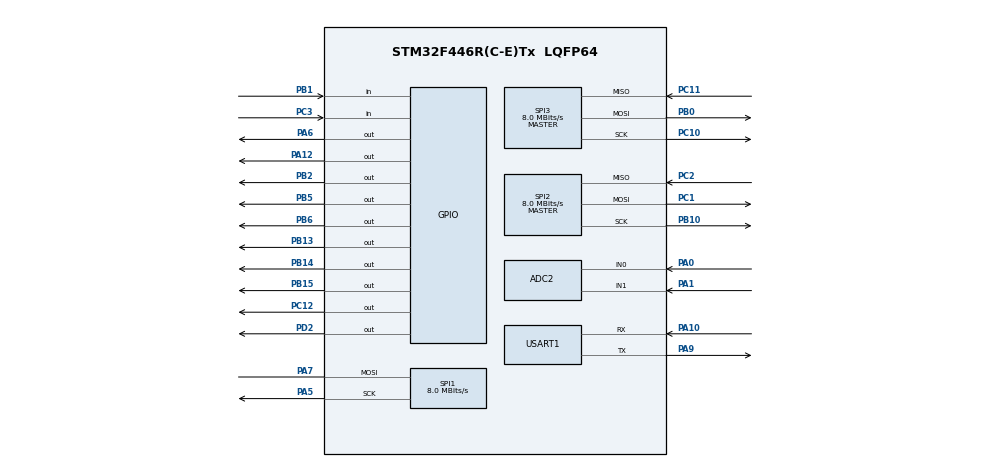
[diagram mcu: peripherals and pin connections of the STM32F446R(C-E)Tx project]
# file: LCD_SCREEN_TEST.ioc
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ADC2.Channel-2\#ChannelRegularConversion=ADC_CHANNEL_0
ADC2.Channel-3\#ChannelRegularConversion=ADC_CHANNEL_1
ADC2.ContinuousConvMode=ENABLE
ADC2.DMAContinuousRequests=ENABLE
ADC2.NbrOfConversion=2
ADC2.NbrOfConversionFlag=1
ADC2.Rank-2\#ChannelRegularConversion=1
ADC2.Rank-3\#ChannelRegularConversion=2
ADC2.SamplingTime-2\#ChannelRegularConversion=ADC_SAMPLETIME_480CYCLES
ADC2.SamplingTime-3\#ChannelRegularConversion=ADC_SAMPLETIME_480CYCLES
Dma.ADC2.0.Direction=DMA_PERIPH_TO_MEMORY
Dma.ADC2.0.FIFOMode=DMA_FIFOMODE_DISABLE
Dma.ADC2.0.Instance=DMA2_Stream2
Dma.ADC2.0.MemDataAlignment=DMA_MDATAALIGN_WORD
Dma.ADC2.0.MemInc=DMA_MINC_ENABLE
Dma.ADC2.0.Mode=DMA_CIRCULAR
Dma.ADC2.0.PeriphDataAlignment=DMA_PDATAALIGN_WORD
Dma.ADC2.0.PeriphInc=DMA_PINC_DISABLE
Dma.ADC2.0.Priority=DMA_PRIORITY_LOW
Dma.Request0=ADC2
Mcu.Family=STM32F4
Mcu.Name=STM32F446R(C-E)Tx
Mcu.Package=LQFP64
NVIC.DMA2_Stream2_IRQn=true\:0\:0\:false\:false\:true\:false\:true
NVIC.PriorityGroup=NVIC_PRIORITYGROUP_4
NVIC.USART1_IRQn=true\:0\:0\:false\:false\:true\:true\:true
PA0-WKUP.Signal=ADCx_IN0
PA1.Signal=ADCx_IN1
PA10.Mode=Asynchronous
PA10.Signal=USART1_RX
PA12.Signal=GPIO_Output
PA13.Mode=Serial_Wire
PA13.Signal=SYS_JTMS-SWDIO
PA14.Mode=Serial_Wire
PA14.Signal=SYS_JTCK-SWCLK
PA5.Mode=Simplex_Bidirectional_Master
PA5.Signal=SPI1_SCK
PA6.Signal=GPIO_Output
PA7.Mode=Simplex_Bidirectional_Master
PA7.Signal=SPI1_MOSI
PA9.Mode=Asynchronous
PA9.Signal=USART1_TX
PB0.Mode=Full_Duplex_Master
PB0.Signal=SPI3_MOSI
PB1.Signal=GPIO_Input
PB10.Mode=Full_Duplex_Master
PB10.Signal=SPI2_SCK
PB13.Signal=GPIO_Output
PB14.Signal=GPIO_Output
PB15.Signal=GPIO_Output
PB2.Signal=GPIO_Output
PB5.Signal=GPIO_Output
PB6.Signal=GPIO_Output
PC1.Mode=Full_Duplex_Master
PC1.Signal=SPI2_MOSI
PC10.Mode=Full_Duplex_Master
PC10.Signal=SPI3_SCK
PC11.Mode=Full_Duplex_Master
PC11.Signal=SPI3_MISO
PC12.PinState=GPIO_PIN_SET
PC12.Signal=GPIO_Output
PC2.Mode=Full_Duplex_Master
PC2.Signal=SPI2_MISO
PC3.Signal=GPIO_Input
PD2.PinState=GPIO_PIN_SET
PD2.Signal=GPIO_Output
ProjectManager.HeapSize=0x200
ProjectManager.StackSize=0x400
ProjectManager.TargetToolchain=STM32CubeIDE
RCC.CortexFreq_Value=16000000
RCC.USBFreq_Value=96000000
RCC.VCOOutputFreq_Value=192000000
SH.ADCx_IN0.0=ADC2_IN0,IN0
SH.ADCx_IN1.0=ADC2_IN1,IN1
SPI1.CalculateBaudRate=8.0 MBits/s
SPI1.Direction=SPI_DIRECTION_1LINE
SPI1.Mode=SPI_MODE_MASTER
SPI1.VirtualType=VM_MASTER
SPI2.CalculateBaudRate=8.0 MBits/s
SPI2.Direction=SPI_DIRECTION_2LINES
SPI2.Mode=SPI_MODE_MASTER
SPI2.VirtualType=VM_MASTER
SPI3.CalculateBaudRate=8.0 MBits/s
SPI3.Direction=SPI_DIRECTION_2LINES
SPI3.Mode=SPI_MODE_MASTER
SPI3.VirtualType=VM_MASTER
USART1.VirtualMode=VM_ASYNC
board=custom

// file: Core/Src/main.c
/* USER CODE BEGIN Header */
/**
  ******************************************************************************
  * @file           : main.c
  * @brief          : Main program body
  ******************************************************************************
  * @attention
  *
  * <h2><center>&copy; Copyright (c) 2020 STMicroelectronics.
  * All rights reserved.</center></h2>
  *
  * This software component is licensed by ST under BSD 3-Clause license,
  * the "License"; You may not use this file except in compliance with the
  * License. You may obtain a copy of the License at:
  *                        opensource.org/licenses/BSD-3-Clause
  *
  ******************************************************************************
  */
/* USER CODE END Header */
#include "main.h"

/* USER CODE BEGIN Includes */
#include "ssd1306.h"
#include "ssd1306_tests.h"
#include "ssd1306_display.h"
#include "hal_iss.h"
#include "nRF905.h"
#include "BMI088.h"
/* USER CODE END Includes */

/* USER CODE BEGIN PD */
#define BUF_LEN		32
#define CONF_LEN	10
/* USER CODE END PD */

ADC_HandleTypeDef hadc2;
DMA_HandleTypeDef hdma_adc2;

SPI_HandleTypeDef hspi1;
SPI_HandleTypeDef hspi2;
SPI_HandleTypeDef hspi3;

UART_HandleTypeDef huart1;

/* USER CODE BEGIN PV */
unsigned char rx_buf[BUF_LEN] = {0};
unsigned char read_config_buf[CONF_LEN];
unsigned char rx_address[4] = {0xcc, 0xcc, 0xcc, 0xcc};
/* USER CODE END PV */

void SystemClock_Config(void);
static void MX_GPIO_Init(void);
static void MX_DMA_Init(void);
static void MX_SPI1_Init(void);
static void MX_ADC2_Init(void);
static void MX_SPI2_Init(void);
static void MX_USART1_UART_Init(void);
static void MX_SPI3_Init(void);
/* USER CODE BEGIN PFP */
uint32_t read_adc_value(ADC_HandleTypeDef *hadc);
/* USER CODE END PFP */

/* USER CODE BEGIN 0 */
uint32_t value[2];

/* USER CODE END 0 */

int main(void)
{
  /* USER CODE BEGIN 1 */
  int lasteventcounter[4] = {0, 0, 0, 0};
  uint8_t buf[50];
  uint8_t gbuf[50];
  uint16_t len, glen;
  float ax = 0, ay = 0, az = 0, gx = 0, gy  = 0, gz = 0;
  uint8_t dummybyte = 0;
  /* USER CODE END 1 */

  /* MCU Configuration--------------------------------------------------------*/

  /* Reset of all peripherals, Initializes the Flash interface and the Systick. */
  HAL_Init();

  /* Configure the system clock */
  SystemClock_Config();

  /* Initialize all configured peripherals */
  MX_GPIO_Init();
  MX_DMA_Init();
  MX_SPI1_Init();
  MX_ADC2_Init();
  MX_SPI2_Init();
  MX_USART1_UART_Init();
  MX_SPI3_Init();
  /* USER CODE BEGIN 2 */

  hal_iss_init();
  ssd1306_Init();
  display_template();

  HAL_ADC_Start_DMA(&hadc2, value, 2);

  nRF905_Init();
  nRF905_WriteConfigFreq(AUSTRALIA);

//  nRF905_ReadConfig(read_config_buf);
//  HAL_UART_Transmit(&huart1, read_config_buf, CONF_LEN, 1000);

  len = sprintf(buf, "Connected\r\n");

  //Make a dummy read to first set accelerotemter into spi after reset
  dummybyte = BMI088_getAccID();

  if (BMI088_isConnection()) {

	  BMI088_Init();
	  HAL_UART_Transmit(&huart1, buf, len, 1000);
	  HAL_GPIO_WritePin(GPIOB, GPIO_PIN_5, GPIO_PIN_SET);
  }
  /* USER CODE END 2 */

  /* Infinite loop */
  while (1)
  {

    /* USER CODE BEGIN 3 */

	  ssd1306_Fill(Black);

	  ssd1306_SetCursor(25, 0);
	  ssd1306_WriteString("Controller", Font_7x10, White);

	  if (hal_iss_eventcounter_read(HAL_ISS_SOURCE_1) > lasteventcounter[HAL_ISS_SOURCE_1]) {

		  HAL_GPIO_TogglePin(GPIOB, GPIO_PIN_6);
		  lasteventcounter[HAL_ISS_SOURCE_1] = hal_iss_eventcounter_read(HAL_ISS_SOURCE_1);
	  }

//	  HAL_GPIO_WritePin(GPIOB, GPIO_PIN_5, GPIO_PIN_RESET);
//	  HAL_Delay(1000);
//	  HAL_GPIO_WritePin(GPIOB, GPIO_PIN_5, GPIO_PIN_SET);
//	  HAL_Delay(1000);

	  //update_left_pot(value[0]);
	  ssd1306_DrawRectangle(2, (61 - (value[0] / 68)), 10, 60, White);
	  ssd1306_DrawRectangle(110, (61 - (value[1] / 68)), 120, 60, White);

	  ssd1306_DrawCircle(40, 30, 15, White);
	  ssd1306_DrawCircle(80, 30, 15, White);

	  ssd1306_DrawCircle(20, 55, 5, White);
	  ssd1306_DrawCircle(100, 55, 5, White);

	  ssd1306_UpdateScreen();

	  //BMI088_getAcceleration(&x, &y, &z);
	  BMI088_getAcceleration(&ax, &ay, &az);
	  len = sprintf(buf, "acc %f, %f, %f\r\n", ax, ay, az);
	  HAL_UART_Transmit(&huart1, buf, len, 1000);

	  BMI088_getGyroscope(&gx, &gy, &gz);
	  glen = sprintf(gbuf, "gyro %f, %f, %f\r\n", gx, gy, gz);
	  HAL_UART_Transmit(&huart1, gbuf, glen, 1000);
	  HAL_Delay(1000);
//	  nRF905_RX(rx_buf);
//
//	  HAL_UART_Transmit(&huart1, rx_buf, BUF_LEN, 100);

  }
  /* USER CODE END 3 */
}

void SystemClock_Config(void)
{
  RCC_OscInitTypeDef RCC_OscInitStruct = {0};
  RCC_ClkInitTypeDef RCC_ClkInitStruct = {0};

  /** Configure the main internal regulator output voltage
  */
  __HAL_RCC_PWR_CLK_ENABLE();
  __HAL_PWR_VOLTAGESCALING_CONFIG(PWR_REGULATOR_VOLTAGE_SCALE3);
  /** Initializes the RCC Oscillators according to the specified parameters
  * in the RCC_OscInitTypeDef structure.
  */
  RCC_OscInitStruct.OscillatorType = RCC_OSCILLATORTYPE_HSI;
  RCC_OscInitStruct.HSIState = RCC_HSI_ON;
  RCC_OscInitStruct.HSICalibrationValue = RCC_HSICALIBRATION_DEFAULT;
  RCC_OscInitStruct.PLL.PLLState = RCC_PLL_NONE;
  if (HAL_RCC_OscConfig(&RCC_OscInitStruct) != HAL_OK)
  {
    Error_Handler();
  }
  /** Initializes the CPU, AHB and APB buses clocks
  */
  RCC_ClkInitStruct.ClockType = RCC_CLOCKTYPE_HCLK|RCC_CLOCKTYPE_SYSCLK
                              |RCC_CLOCKTYPE_PCLK1|RCC_CLOCKTYPE_PCLK2;
  RCC_ClkInitStruct.SYSCLKSource = RCC_SYSCLKSOURCE_HSI;
  RCC_ClkInitStruct.AHBCLKDivider = RCC_SYSCLK_DIV1;
  RCC_ClkInitStruct.APB1CLKDivider = RCC_HCLK_DIV1;
  RCC_ClkInitStruct.APB2CLKDivider = RCC_HCLK_DIV1;

  if (HAL_RCC_ClockConfig(&RCC_ClkInitStruct, FLASH_LATENCY_0) != HAL_OK)
  {
    Error_Handler();
  }
}

static void MX_ADC2_Init(void)
{

  ADC_ChannelConfTypeDef sConfig = {0};

  /** Configure the global features of the ADC (Clock, Resolution, Data Alignment and number of conversion)
  */
  hadc2.Instance = ADC2;
  hadc2.Init.ClockPrescaler = ADC_CLOCK_SYNC_PCLK_DIV2;
  hadc2.Init.Resolution = ADC_RESOLUTION_12B;
  hadc2.Init.ScanConvMode = ENABLE;
  hadc2.Init.ContinuousConvMode = ENABLE;
  hadc2.Init.DiscontinuousConvMode = DISABLE;
  hadc2.Init.ExternalTrigConvEdge = ADC_EXTERNALTRIGCONVEDGE_NONE;
  hadc2.Init.ExternalTrigConv = ADC_SOFTWARE_START;
  hadc2.Init.DataAlign = ADC_DATAALIGN_RIGHT;
  hadc2.Init.NbrOfConversion = 2;
  hadc2.Init.DMAContinuousRequests = ENABLE;
  hadc2.Init.EOCSelection = ADC_EOC_SINGLE_CONV;
  if (HAL_ADC_Init(&hadc2) != HAL_OK)
  {
    Error_Handler();
  }
  /** Configure for the selected ADC regular channel its corresponding rank in the sequencer and its sample time.
  */
  sConfig.Channel = ADC_CHANNEL_0;
  sConfig.Rank = 1;
  sConfig.SamplingTime = ADC_SAMPLETIME_480CYCLES;
  if (HAL_ADC_ConfigChannel(&hadc2, &sConfig) != HAL_OK)
  {
    Error_Handler();
  }
  /** Configure for the selected ADC regular channel its corresponding rank in the sequencer and its sample time.
  */
  sConfig.Channel = ADC_CHANNEL_1;
  sConfig.Rank = 2;
  if (HAL_ADC_ConfigChannel(&hadc2, &sConfig) != HAL_OK)
  {
    Error_Handler();
  }

}

static void MX_SPI1_Init(void)
{

  /* SPI1 parameter configuration*/
  hspi1.Instance = SPI1;
  hspi1.Init.Mode = SPI_MODE_MASTER;
  hspi1.Init.Direction = SPI_DIRECTION_1LINE;
  hspi1.Init.DataSize = SPI_DATASIZE_8BIT;
  hspi1.Init.CLKPolarity = SPI_POLARITY_LOW;
  hspi1.Init.CLKPhase = SPI_PHASE_1EDGE;
  hspi1.Init.NSS = SPI_NSS_SOFT;
  hspi1.Init.BaudRatePrescaler = SPI_BAUDRATEPRESCALER_2;
  hspi1.Init.FirstBit = SPI_FIRSTBIT_MSB;
  hspi1.Init.TIMode = SPI_TIMODE_DISABLE;
  hspi1.Init.CRCCalculation = SPI_CRCCALCULATION_DISABLE;
  hspi1.Init.CRCPolynomial = 10;
  if (HAL_SPI_Init(&hspi1) != HAL_OK)
  {
    Error_Handler();
  }

}

static void MX_SPI2_Init(void)
{

  /* SPI2 parameter configuration*/
  hspi2.Instance = SPI2;
  hspi2.Init.Mode = SPI_MODE_MASTER;
  hspi2.Init.Direction = SPI_DIRECTION_2LINES;
  hspi2.Init.DataSize = SPI_DATASIZE_8BIT;
  hspi2.Init.CLKPolarity = SPI_POLARITY_LOW;
  hspi2.Init.CLKPhase = SPI_PHASE_1EDGE;
  hspi2.Init.NSS = SPI_NSS_SOFT;
  hspi2.Init.BaudRatePrescaler = SPI_BAUDRATEPRESCALER_2;
  hspi2.Init.FirstBit = SPI_FIRSTBIT_MSB;
  hspi2.Init.TIMode = SPI_TIMODE_DISABLE;
  hspi2.Init.CRCCalculation = SPI_CRCCALCULATION_DISABLE;
  hspi2.Init.CRCPolynomial = 10;
  if (HAL_SPI_Init(&hspi2) != HAL_OK)
  {
    Error_Handler();
  }

}

static void MX_SPI3_Init(void)
{

  /* SPI3 parameter configuration*/
  hspi3.Instance = SPI3;
  hspi3.Init.Mode = SPI_MODE_MASTER;
  hspi3.Init.Direction = SPI_DIRECTION_2LINES;
  hspi3.Init.DataSize = SPI_DATASIZE_8BIT;
  hspi3.Init.CLKPolarity = SPI_POLARITY_LOW;
  hspi3.Init.CLKPhase = SPI_PHASE_1EDGE;
  hspi3.Init.NSS = SPI_NSS_SOFT;
  hspi3.Init.BaudRatePrescaler = SPI_BAUDRATEPRESCALER_2;
  hspi3.Init.FirstBit = SPI_FIRSTBIT_MSB;
  hspi3.Init.TIMode = SPI_TIMODE_DISABLE;
  hspi3.Init.CRCCalculation = SPI_CRCCALCULATION_DISABLE;
  hspi3.Init.CRCPolynomial = 10;
  if (HAL_SPI_Init(&hspi3) != HAL_OK)
  {
    Error_Handler();
  }

}

static void MX_USART1_UART_Init(void)
{

  huart1.Instance = USART1;
  huart1.Init.BaudRate = 115200;
  huart1.Init.WordLength = UART_WORDLENGTH_8B;
  huart1.Init.StopBits = UART_STOPBITS_1;
  huart1.Init.Parity = UART_PARITY_NONE;
  huart1.Init.Mode = UART_MODE_TX_RX;
  huart1.Init.HwFlowCtl = UART_HWCONTROL_NONE;
  huart1.Init.OverSampling = UART_OVERSAMPLING_16;
  if (HAL_UART_Init(&huart1) != HAL_OK)
  {
    Error_Handler();
  }

}

static void MX_DMA_Init(void)
{

  /* DMA controller clock enable */
  __HAL_RCC_DMA2_CLK_ENABLE();

  /* DMA interrupt init */
  /* DMA2_Stream2_IRQn interrupt configuration */
  HAL_NVIC_SetPriority(DMA2_Stream2_IRQn, 0, 0);
  HAL_NVIC_EnableIRQ(DMA2_Stream2_IRQn);

}

static void MX_GPIO_Init(void)
{
  GPIO_InitTypeDef GPIO_InitStruct = {0};

  /* GPIO Ports Clock Enable */
  __HAL_RCC_GPIOC_CLK_ENABLE();
  __HAL_RCC_GPIOA_CLK_ENABLE();
  __HAL_RCC_GPIOB_CLK_ENABLE();
  __HAL_RCC_GPIOD_CLK_ENABLE();

  /*Configure GPIO pin Output Level */
  HAL_GPIO_WritePin(GPIOA, GPIO_PIN_6|GPIO_PIN_12, GPIO_PIN_RESET);

  /*Configure GPIO pin Output Level */
  HAL_GPIO_WritePin(GPIOB, GPIO_PIN_2|GPIO_PIN_13|GPIO_PIN_14|GPIO_PIN_15
                          |GPIO_PIN_5|GPIO_PIN_6, GPIO_PIN_RESET);

  /*Configure GPIO pin Output Level */
  HAL_GPIO_WritePin(GPIOC, GPIO_PIN_12, GPIO_PIN_SET);

  /*Configure GPIO pin Output Level */
  HAL_GPIO_WritePin(GPIOD, GPIO_PIN_2, GPIO_PIN_SET);

  /*Configure GPIO pin : PC3 */
  GPIO_InitStruct.Pin = GPIO_PIN_3;
  GPIO_InitStruct.Mode = GPIO_MODE_INPUT;
  GPIO_InitStruct.Pull = GPIO_NOPULL;
  HAL_GPIO_Init(GPIOC, &GPIO_InitStruct);

  /*Configure GPIO pins : PA6 PA12 */
  GPIO_InitStruct.Pin = GPIO_PIN_6|GPIO_PIN_12;
  GPIO_InitStruct.Mode = GPIO_MODE_OUTPUT_PP;
  GPIO_InitStruct.Pull = GPIO_NOPULL;
  GPIO_InitStruct.Speed = GPIO_SPEED_FREQ_LOW;
  HAL_GPIO_Init(GPIOA, &GPIO_InitStruct);

  /*Configure GPIO pin : PB1 */
  GPIO_InitStruct.Pin = GPIO_PIN_1;
  GPIO_InitStruct.Mode = GPIO_MODE_INPUT;
  GPIO_InitStruct.Pull = GPIO_NOPULL;
  HAL_GPIO_Init(GPIOB, &GPIO_InitStruct);

  /*Configure GPIO pins : PB2 PB13 PB14 PB15
                           PB5 PB6 */
  GPIO_InitStruct.Pin = GPIO_PIN_2|GPIO_PIN_13|GPIO_PIN_14|GPIO_PIN_15
                          |GPIO_PIN_5|GPIO_PIN_6;
  GPIO_InitStruct.Mode = GPIO_MODE_OUTPUT_PP;
  GPIO_InitStruct.Pull = GPIO_NOPULL;
  GPIO_InitStruct.Speed = GPIO_SPEED_FREQ_LOW;
  HAL_GPIO_Init(GPIOB, &GPIO_InitStruct);

  /*Configure GPIO pin : PC12 */
  GPIO_InitStruct.Pin = GPIO_PIN_12;
  GPIO_InitStruct.Mode = GPIO_MODE_OUTPUT_PP;
  GPIO_InitStruct.Pull = GPIO_NOPULL;
  GPIO_InitStruct.Speed = GPIO_SPEED_FREQ_LOW;
  HAL_GPIO_Init(GPIOC, &GPIO_InitStruct);

  /*Configure GPIO pin : PD2 */
  GPIO_InitStruct.Pin = GPIO_PIN_2;
  GPIO_InitStruct.Mode = GPIO_MODE_OUTPUT_PP;
  GPIO_InitStruct.Pull = GPIO_NOPULL;
  GPIO_InitStruct.Speed = GPIO_SPEED_FREQ_LOW;
  HAL_GPIO_Init(GPIOD, &GPIO_InitStruct);

}

/* USER CODE BEGIN 4 */

void update_left_pot(uint32_t adc_val) {

}
/* USER CODE END 4 */

void Error_Handler(void)
{
}

/************************ (C) COPYRIGHT STMicroelectronics *****END OF FILE****/
